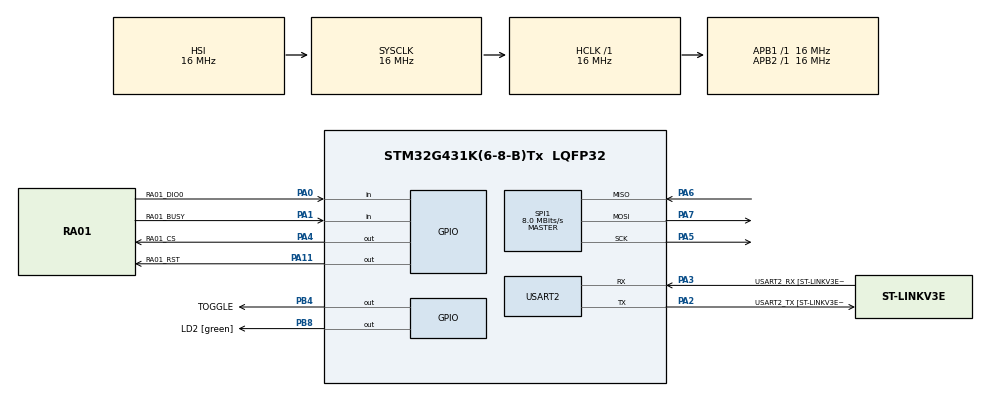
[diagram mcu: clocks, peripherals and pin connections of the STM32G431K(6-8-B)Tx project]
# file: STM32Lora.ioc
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Mcu.Family=STM32G4
Mcu.Name=STM32G431K(6-8-B)Tx
Mcu.Package=LQFP32
NVIC.PriorityGroup=NVIC_PRIORITYGROUP_4
PA0.GPIO_Label=RA01_DIO0
PA0.GPIO_PuPd=GPIO_PULLDOWN
PA0.Signal=GPIO_Input
PA1.GPIO_Label=RA01_BUSY
PA1.GPIO_PuPd=GPIO_PULLDOWN
PA1.Signal=GPIO_Input
PA11.GPIO_Label=RA01_RST
PA11.GPIO_PuPd=GPIO_PULLUP
PA11.PinState=GPIO_PIN_SET
PA11.Signal=GPIO_Output
PA13.GPIO_Label=T_SWDIO
PA13.Mode=Serial_Wire
PA13.Signal=SYS_JTMS-SWDIO
PA14.GPIO_Label=T_SWCLK
PA14.Mode=Serial_Wire
PA14.Signal=SYS_JTCK-SWCLK
PA2.GPIO_Label=USART2_TX [ST-LINKV3E_VCP_RX]
PA2.Mode=Asynchronous
PA2.Signal=USART2_TX
PA3.GPIO_Label=USART2_RX [ST-LINKV3E_VCP_TX]
PA3.Mode=Asynchronous
PA3.Signal=USART2_RX
PA4.GPIO_Label=RA01_CS
PA4.PinState=GPIO_PIN_SET
PA4.Signal=GPIO_Output
PA5.Mode=Full_Duplex_Master
PA5.Signal=SPI1_SCK
PA6.Mode=Full_Duplex_Master
PA6.Signal=SPI1_MISO
PA7.Mode=Full_Duplex_Master
PA7.Signal=SPI1_MOSI
PB3.GPIO_Label=T_SWO
PB3.Signal=SYS_JTDO-SWO
PB4.GPIO_Label=TOGGLE
PB4.Signal=GPIO_Output
PB8-BOOT0.GPIO_Label=LD2 [green]
PB8-BOOT0.Signal=GPIO_Output
ProjectManager.HeapSize=0x200
ProjectManager.StackSize=0x400
ProjectManager.TargetToolchain=STM32CubeIDE
RCC.ADC12Freq_Value=16000000
RCC.AHBFreq_Value=16000000
RCC.APB1Freq_Value=16000000
RCC.APB1TimFreq_Value=16000000
RCC.APB2Freq_Value=16000000
RCC.APB2TimFreq_Value=16000000
RCC.CortexFreq_Value=16000000
RCC.EXTERNAL_CLOCK_VALUE=12288000
RCC.HCLKFreq_Value=16000000
RCC.HSE_VALUE=8000000
RCC.HSI48_VALUE=48000000
RCC.HSI_VALUE=16000000
RCC.LSE_VALUE=32768
RCC.SYSCLKFreq_VALUE=16000000
RCC.USBFreq_Value=64000000
RCC.VCOOutputFreq_Value=128000000
SPI1.BaudRatePrescaler=SPI_BAUDRATEPRESCALER_2
SPI1.CalculateBaudRate=8.0 MBits/s
SPI1.DataSize=SPI_DATASIZE_8BIT
SPI1.Direction=SPI_DIRECTION_2LINES
SPI1.Mode=SPI_MODE_MASTER
SPI1.VirtualType=VM_MASTER
USART2.VirtualMode-Asynchronous=VM_ASYNC
USART2.WordLength=WORDLENGTH_8B
board=NUCLEO-G431KB

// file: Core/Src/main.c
/* USER CODE BEGIN Header */
/**
  ******************************************************************************
  * @file           : main.c
  * @brief          : Main program body
  ******************************************************************************
  * @attention
  *
  * Copyright (c) 2023 STMicroelectronics.
  * All rights reserved.
  *
  * This software is licensed under terms that can be found in the LICENSE file
  * in the root directory of this software component.
  * If no LICENSE file comes with this software, it is provided AS-IS.
  *
  ******************************************************************************
  */
/* USER CODE END Header */
#include "main.h"
#include "spi.h"
#include "usart.h"
#include "gpio.h"

/* USER CODE BEGIN Includes */
#include <ra01.h>
#include <string.h>
#include <stdio.h>
/* USER CODE END Includes */

/* USER CODE BEGIN PV */
uint8_t uartBuf[32];
uint8_t uartBufLen = 0;
/* USER CODE END PV */

void SystemClock_Config(void);

/* USER CODE BEGIN 0 */
uint8_t checkLoraRead() {
	uint8_t packetSize = LoRa.parsePacket();

	bool recieved = false;
	if (packetSize)
	{
	  recieved = true;
	  strcpy((char*)uartBuf, "RECIEVED: ");
	  HAL_UART_Transmit(&huart2, uartBuf, strlen((char*)uartBuf), HAL_MAX_DELAY);
	  while (LoRa.available()) {
		  uint8_t data = LoRa.read();
		  uartBufLen = sprintf((char*)uartBuf, "%c", data);
		  HAL_UART_Transmit(&huart2, (uint8_t*)uartBuf, uartBufLen, HAL_MAX_DELAY);
	  }
	  strcpy((char*)uartBuf, "\r\n");
	  HAL_UART_Transmit(&huart2, (uint8_t*)uartBuf, strlen((char*)uartBuf), HAL_MAX_DELAY);
	  return 1;
	}
	return 0;
}

uint8_t loraTransmit(uint8_t loraTransmission[32], uint8_t loraTransmissionLen) {
	strcpy((char*)uartBuf, "LoRa Transmit\r\n");
	HAL_UART_Transmit(&huart2, uartBuf, strlen((char*)uartBuf), HAL_MAX_DELAY);

	uint8_t result = LoRa.beginPacket();
	if (result == 0) {
		strcpy((char*)uartBuf, "LoRa Transmit Already In Process\r\n");
		HAL_UART_Transmit(&huart2, uartBuf, strlen((char*)uartBuf), HAL_MAX_DELAY);
		return result;
	}

	LoRa.write(loraTransmission, loraTransmissionLen);
	LoRa.endPacket();
	return result;
}

/* USER CODE END 0 */

int main(void)
{

  /* MCU Configuration--------------------------------------------------------*/

  /* Reset of all peripherals, Initializes the Flash interface and the Systick. */
   HAL_Init();

  /* Configure the system clock */
  SystemClock_Config();

  /* Initialize all configured peripherals */
  MX_GPIO_Init();
  MX_USART2_UART_Init();
  MX_SPI1_Init();
  /* USER CODE BEGIN 2 */
  strcpy((char*)uartBuf, "LoRa\r\n");
  HAL_UART_Transmit(&huart2, uartBuf, strlen((char*)uartBuf), HAL_MAX_DELAY);

  // Reset RA01
  HAL_GPIO_WritePin(RA01_RST_GPIO_Port, RA01_RST_Pin, GPIO_PIN_SET);
  HAL_Delay(2500);
  HAL_GPIO_WritePin(RA01_RST_GPIO_Port, RA01_RST_Pin, GPIO_PIN_RESET);
  HAL_Delay(2500);
  HAL_GPIO_WritePin(RA01_RST_GPIO_Port, RA01_RST_Pin, GPIO_PIN_SET);

  LoRa.setSPI(&hspi1, RA01_CS_GPIO_Port, RA01_CS_Pin, RA01_BUSY_GPIO_Port, RA01_BUSY_Pin);
  LoRa.setDIO(RA01_DIO0_GPIO_Port, RA01_DIO0_Pin);

  HAL_Delay(1000);
  uint8_t spiBuf[32];
  uint8_t val;

  if (!LoRa.begin(434E6)) {
	  while (1) {
		  HAL_Delay(5000);
		  uartBufLen = sprintf((char*)uartBuf, "Lora Failed To Start\r\n");
		  HAL_UART_Transmit(&huart2, (uint8_t*)uartBuf, uartBufLen, 100);
	  }
  }

  LoRa.setSignalBandwidth(125E3);
  LoRa.setSpreadingFactor(125);
  LoRa.setCodingRate4(5);
  LoRa.setDioMappings();

  uint16_t tx_count = 0;
  /* USER CODE END 2 */

  /* Infinite loop */
  /* USER CODE BEGIN WHILE */
  LoRa.idle();
//  LoRa.setPreambleLength(0xffff);
  LoRa.setRxMode(true);
//  checkLoraRead();
  while (1)
  {
	HAL_Delay(100);
	if (HAL_GPIO_ReadPin(RA01_DIO0_GPIO_Port, RA01_DIO0_Pin) == 1) {
		checkLoraRead();
	}

//	HAL_GPIO_WritePin(TOGGLE_GPIO_Port, TOGGLE_Pin, GPIO_PIN_SET);
//	HAL_GPIO_WritePin(LD2_GPIO_Port, LD2_Pin, GPIO_PIN_SET);
//	HAL_Delay(2500);
//	HAL_GPIO_WritePin(TOGGLE_GPIO_Port, TOGGLE_Pin, GPIO_PIN_RESET);
//	HAL_GPIO_WritePin(LD2_GPIO_Port, LD2_Pin, GPIO_PIN_RESET);

	if (tx_count % 10 == 0) {
		uint8_t loraTransmission[32];
		uint8_t loraTransmissionLen = sprintf((char*)loraTransmission, "Data:%02X ", (tx_count/15));
//		HAL_UART_Transmit(&huart2, loraTransmission, loraTransmissionLen, HAL_MAX_DELAY);
//		LoRa.idle();
//		LoRa.sleep();
//		LoRa.setSignalBandwidth(125E3);
//		loraTransmit(loraTransmission, loraTransmissionLen);

	}

	tx_count++;

    /* USER CODE END WHILE */

  }
}

void SystemClock_Config(void)
{
  RCC_OscInitTypeDef RCC_OscInitStruct = {0};
  RCC_ClkInitTypeDef RCC_ClkInitStruct = {0};

  /** Configure the main internal regulator output voltage
  */
  HAL_PWREx_ControlVoltageScaling(PWR_REGULATOR_VOLTAGE_SCALE1);

  /** Initializes the RCC Oscillators according to the specified parameters
  * in the RCC_OscInitTypeDef structure.
  */
  RCC_OscInitStruct.OscillatorType = RCC_OSCILLATORTYPE_HSI;
  RCC_OscInitStruct.HSIState = RCC_HSI_ON;
  RCC_OscInitStruct.HSICalibrationValue = RCC_HSICALIBRATION_DEFAULT;
  RCC_OscInitStruct.PLL.PLLState = RCC_PLL_NONE;
  if (HAL_RCC_OscConfig(&RCC_OscInitStruct) != HAL_OK)
  {
    Error_Handler();
  }

  /** Initializes the CPU, AHB and APB buses clocks
  */
  RCC_ClkInitStruct.ClockType = RCC_CLOCKTYPE_HCLK|RCC_CLOCKTYPE_SYSCLK
                              |RCC_CLOCKTYPE_PCLK1|RCC_CLOCKTYPE_PCLK2;
  RCC_ClkInitStruct.SYSCLKSource = RCC_SYSCLKSOURCE_HSI;
  RCC_ClkInitStruct.AHBCLKDivider = RCC_SYSCLK_DIV1;
  RCC_ClkInitStruct.APB1CLKDivider = RCC_HCLK_DIV1;
  RCC_ClkInitStruct.APB2CLKDivider = RCC_HCLK_DIV1;

  if (HAL_RCC_ClockConfig(&RCC_ClkInitStruct, FLASH_LATENCY_0) != HAL_OK)
  {
    Error_Handler();
  }
}

void Error_Handler(void)
{
  __disable_irq();
  while (1)
  {
  }
}
